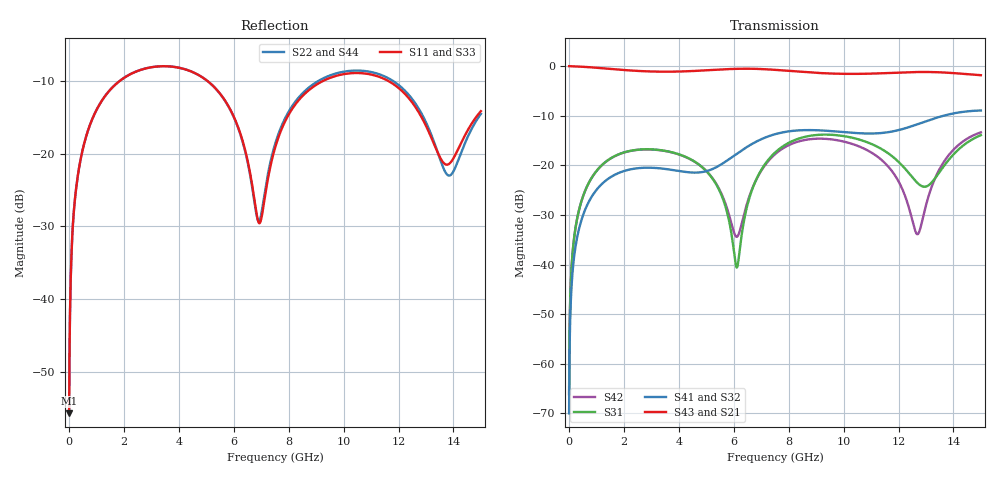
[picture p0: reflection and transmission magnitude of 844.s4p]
! Created with skrf 1.8.0 (http://scikit-rf.org).
# GHz S RI R 50.0
!freq ReS11 ImS11 ReS12 ImS12 ReS13 ImS13
! ReS14 ImS14
! ReS21 ImS21 ReS22 ImS22 ReS23 ImS23
! ReS24 ImS24
! ReS31 ImS31 ReS32 ImS32 ReS33 ImS33
! ReS34 ImS34
! ReS41 ImS41 ReS42 ImS42 ReS43 ImS43
! ReS44 ImS44
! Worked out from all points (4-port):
!   2499 points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, 5 MHz to 15 GHz, reference 50 ohm
!   strongest paths, dB at 5 MHz, 3.476 GHz, 7.19 GHz, 11.1 GHz, 15 GHz:
!     S43: 0.0, -1.1, -0.6, -1.5, -1.8
!     S21: 0.0, -1.1, -0.6, -1.5, -1.8
!     S41: -70.0, -20.7, -14.3, -13.6, -8.9
!     S32: -70.0, -20.7, -14.3, -13.6, -9.0
!     S31: -66.1, -17.1, -19.4, -15.9, -13.9
!     S42: -66.1, -17.1, -19.6, -17.7, -13.4
!   lowest |S11| = -55.7 dB at 5 MHz (marker M1), VSWR 1.00, Z = 50.1 + j0.0997 ohm
!   |S11| at or under -10 dB: start of sweep to 1.853 GHz; 5.035 GHz to 9.26 GHz (4.225 GHz wide, 59.1 % of centre); 11.62 GHz to end of sweep
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0.005  0.0013 0.000995  0.9987 -0.00254  6.36e-05 0.00049  -6.2e-05 -0.000311
       0.9987 -0.00254  0.0013 0.000995  -6.2e-05 -0.000311  6.36e-05 0.00049
       6.36e-05 0.00049  -6.2e-05 -0.000311  0.0013 0.000995  0.9987 -0.00254
       -6.2e-05 -0.000311  6.36e-05 0.00049  0.9987 -0.00254  0.0013 0.000995
0.3626511  0.0204 0.0762  0.9721 -0.1834  0.009 0.034  -0.0075 -0.0214
           0.9721 -0.1834  0.0204 0.0762  -0.0075 -0.0215  0.00893 0.0341
           0.009 0.034  -0.0075 -0.0215  0.0204 0.0762  0.9721 -0.1834
           -0.0075 -0.0214  0.00893 0.0341  0.9721 -0.1834  0.0204 0.0762
1.825761  0.2502 0.1886  0.5932 -0.705  0.114 0.062  -0.0831 -0.0132
          0.5932 -0.705  0.2505 0.1884  -0.083 -0.0133  0.1131 0.063
          0.114 0.062  -0.083 -0.0133  0.2502 0.1886  0.5932 -0.705
          -0.0831 -0.0132  0.1131 0.063  0.5932 -0.705  0.2504 0.1885
6.108795  0.0831 -0.1374  -0.8481 -0.4025  -0.00907 -0.00219  -0.0516 0.1201
          -0.8481 -0.4025  0.0826 -0.1362  -0.0536 0.1192  -0.0182 -0.00579
          -0.00907 -0.00219  -0.0536 0.1192  0.0826 -0.1369  -0.8482 -0.4025
          -0.0516 0.1201  -0.0182 -0.00579  -0.8482 -0.4025  0.0825 -0.1355
6.859108  0.0326 -0.0157  -0.9346 -0.0721  0.00798 0.0755  -0.00854 0.1753
          -0.9346 -0.0721  0.0336 -0.0123  -0.0113 0.1752  -0.00918 0.0748
          0.00798 0.0755  -0.0113 0.1752  0.0325 -0.0147  -0.9346 -0.0721
          -0.00854 0.1753  -0.00918 0.0748  -0.9346 -0.0721  0.0337 -0.0117
10.95456  0.3455 -0.0607  0.1 0.8333  0.1172 -0.1189  0.1916 -0.0841
          0.1 0.8333  0.3563 -0.0796  0.1924 -0.0779  0.1203 -0.0666
          0.1172 -0.1189  0.1924 -0.0779  0.3464 -0.0616  0.0994 0.8334
          0.1916 -0.0841  0.1203 -0.0666  0.0994 0.8334  0.3554 -0.0785
15  0.1689 0.0989  0.7486 -0.3095  0.1414 0.1435  -0.1862 -0.3047
    0.7486 -0.3095  0.1583 0.1005  -0.1756 -0.3082  0.1546 0.1494
    0.1414 0.1435  -0.1756 -0.3082  0.1751 0.1005  0.7488 -0.3083
    -0.1862 -0.3047  0.1546 0.1494  0.7488 -0.3083  0.1529 0.1019
